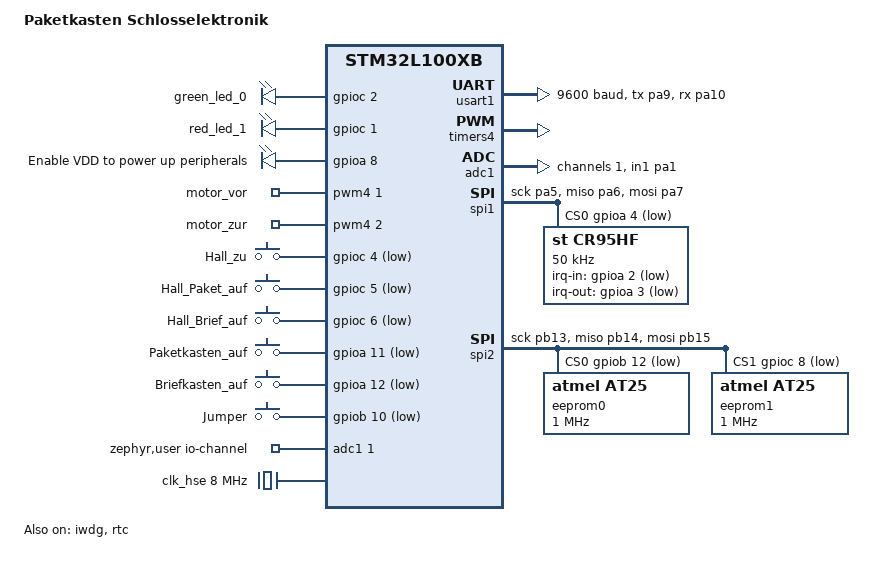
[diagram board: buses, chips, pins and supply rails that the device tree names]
/*
 * Copyright (c) 2025 Conny Marco Menebröcker
 *
 * SPDX-License-Identifier: Apache-2.0
 */

/dts-v1/;
#include <st/l1/stm32l100Xb.dtsi>
#include <st/l1/stm32l100r(8-b)tx-pinctrl.dtsi>
#include <zephyr/dt-bindings/input/input-event-codes.h>

/ {
	model = "Paketkasten Schlosselektronik";
	compatible = "dhl,paketkasten";

	chosen {
		zephyr,console = &usart1;
		zephyr,shell-uart = &usart1;
		zephyr,sram = &sram0;
		zephyr,flash = &flash0;
	};

	leds: leds {
		compatible = "gpio-leds";
		green_led_0: led_0 {
			gpios = <&gpioc 2 GPIO_ACTIVE_HIGH>;
		};
		red_led_1: led_1 {
			gpios = <&gpioc 1 GPIO_ACTIVE_HIGH>;
		};
		vdd_en:	output {
			gpios = <&gpioa 8 GPIO_ACTIVE_HIGH>;
			label = "Enable VDD to power up peripherals";
		};
	};

	pwmleds: pwmleds {
		compatible = "pwm-leds";
		status = "okay";

		motor_vor: motor_vor {
			pwms = <&pwm4 1 PWM_USEC(100) PWM_POLARITY_NORMAL>;
		};

		motor_zur: motor_zur {
			pwms = <&pwm4 2 PWM_USEC(100) PWM_POLARITY_NORMAL>;
		};
	};

	gpio_keys {
		compatible = "gpio-keys";
		hall_zu: button0 {
			label = "Hall_zu";
			gpios = <&gpioc 4 (GPIO_ACTIVE_LOW | GPIO_PULL_UP)>;
			zephyr,code = <INPUT_KEY_0>;
		};

		hall_p_auf: button1 {
			label = "Hall_Paket_auf";
			gpios = <&gpioc 5 (GPIO_ACTIVE_LOW | GPIO_PULL_UP)>;
			zephyr,code = <INPUT_KEY_1>;
		};

		hall_b_auf: button2 {
			label = "Hall_Brief_auf";
			gpios = <&gpioc 6 (GPIO_ACTIVE_LOW | GPIO_PULL_UP)>;
			zephyr,code = <INPUT_KEY_2>;
		};

		paket_auf: button3 {
			label = "Paketkasten_auf";
			gpios = <&gpioa 11 (GPIO_ACTIVE_LOW | GPIO_PULL_UP)>;
			zephyr,code = <INPUT_KEY_3>;
		};

		brief_auf: button4 {
			label = "Briefkasten_auf";
			gpios = <&gpioa 12 (GPIO_ACTIVE_LOW | GPIO_PULL_UP)>;
			zephyr,code = <INPUT_KEY_4>;
		};

		jumper: button5	{
			label = "Jumper";
			gpios = <&gpiob 10 (GPIO_ACTIVE_LOW | GPIO_PULL_UP)>;
			zephyr,code = <INPUT_KEY_5>;
		};
	};

	aliases	{
		vdden = &vdd_en;
		ledgreen = &green_led_0;
		ledred = &red_led_1;
		motorv = &motor_vor;
		motorz = &motor_zur;
		hallzu = &hall_zu;
		hallpauf = &hall_p_auf;
		hallbauf = &hall_b_auf;
		paketauf = &paket_auf;
		briefauf = &brief_auf;
		jumper = &jumper;
		rfid = &cr95hf;
		watchdog0 = &iwdg;
		/*die-temp0 = &die_temp;
		volt-sensor0 = &vref; */
	};

	zephyr,user {
		io-channels = <&adc1 1>;

		unused_pin_a0_cfg: unused_pin_a0_cfg {
			compatible = "zephyr,gpio-pinctrl";
			pinctrl-0 = <&unused_pin_a0>;
			pinctrl-names = "default";
		};
		unused_pin_b0_cfg: unused_pin_b0_cfg
		{
			compatible = "zephyr,gpio-pinctrl";
			pinctrl-0 = <&unused_pin_b0>;
			pinctrl-names = "default";
		};
		unused_pin_b1_cfg: unused_pin_b1_cfg
		{
			compatible = "zephyr,gpio-pinctrl";
			pinctrl-0 = <&unused_pin_b1>;
			pinctrl-names = "default";
		};
		unused_pin_b2_cfg: unused_pin_b2_cfg
		{
			compatible = "zephyr,gpio-pinctrl";
			pinctrl-0 = <&unused_pin_b2>;
			pinctrl-names = "default";
		};
		unused_pin_b4_cfg: unused_pin_b4_cfg
		{
			compatible = "zephyr,gpio-pinctrl";
			pinctrl-0 = <&unused_pin_b4>;
			pinctrl-names = "default";
		};
		unused_pin_b5_cfg: unused_pin_b5_cfg
		{
			compatible = "zephyr,gpio-pinctrl";
			pinctrl-0 = <&unused_pin_b5>;
			pinctrl-names = "default";
		};
		unused_pin_b8_cfg: unused_pin_b8_cfg
		{
			compatible = "zephyr,gpio-pinctrl";
			pinctrl-0 = <&unused_pin_b8>;
			pinctrl-names = "default";
		};
		unused_pin_b9_cfg: unused_pin_b9_cfg
		{
			compatible = "zephyr,gpio-pinctrl";
			pinctrl-0 = <&unused_pin_b9>;
			pinctrl-names = "default";
		};
		unused_pin_b10_cfg: unused_pin_b10_cfg
		{
			compatible = "zephyr,gpio-pinctrl";
			pinctrl-0 = <&unused_pin_b10>;
			pinctrl-names = "default";
		};
		unused_pin_b11_cfg: unused_pin_b11_cfg
		{
			compatible = "zephyr,gpio-pinctrl";
			pinctrl-0 = <&unused_pin_b11>;
			pinctrl-names = "default";
		};
		unused_pin_c0_cfg: unused_pin_c0_cfg
		{
			compatible = "zephyr,gpio-pinctrl";
			pinctrl-0 = <&unused_pin_c0>;
			pinctrl-names = "default";
		};
		unused_pin_c3_cfg: unused_pin_c3_cfg
		{
			compatible = "zephyr,gpio-pinctrl";
			pinctrl-0 = <&unused_pin_c3>;
			pinctrl-names = "default";
		};
		unused_pin_c7_cfg: unused_pin_c7_cfg
		{
			compatible = "zephyr,gpio-pinctrl";
			pinctrl-0 = <&unused_pin_c7>;
			pinctrl-names = "default";
		};
		unused_pin_c9_cfg: unused_pin_c9_cfg
		{
			compatible = "zephyr,gpio-pinctrl";
			pinctrl-0 = <&unused_pin_c9>;
			pinctrl-names = "default";
		};
		unused_pin_c10_cfg: unused_pin_c10_cfg
		{
			compatible = "zephyr,gpio-pinctrl";
			pinctrl-0 = <&unused_pin_c10>;
			pinctrl-names = "default";
		};
		unused_pin_c11_cfg: unused_pin_c11_cfg
		{
			compatible = "zephyr,gpio-pinctrl";
			pinctrl-0 = <&unused_pin_c11>;
			pinctrl-names = "default";
		};
		unused_pin_c12_cfg: unused_pin_c12_cfg
		{
			compatible = "zephyr,gpio-pinctrl";
			pinctrl-0 = <&unused_pin_c12>;
			pinctrl-names = "default";
		};
		unused_pin_c13_cfg: unused_pin_c13_cfg
		{
			compatible = "zephyr,gpio-pinctrl";
			pinctrl-0 = <&unused_pin_c13>;
			pinctrl-names = "default";
		};
		unused_pin_d2_cfg: unused_pin_d2_cfg
		{
			compatible = "zephyr,gpio-pinctrl";
			pinctrl-0 = <&unused_pin_d2>;
			pinctrl-names = "default";
		};
	};
};

&clk_hse
{
	clock-frequency = <DT_FREQ_M(8)>;
	status = "okay";
};

&clk_hsi {
	status = "okay";
};

&clk_lse {
	status = "okay";
};

&pll {
	div = <2>;
	mul = <3>;
	clocks = <&clk_hse>;
	status = "okay";
};

&rcc {
	clocks = <&pll>;
	clock-frequency = <DT_FREQ_M(12)>;
	ahb-prescaler = <1>;
	apb1-prescaler = <1>;
	apb2-prescaler = <1>;
};

&iwdg {
	status = "okay";
};

&rtc {
	clocks = <&rcc STM32_CLOCK_BUS_APB1 0x10000000>, <&rcc STM32_SRC_LSE RTC_SEL(1)>;
	status = "okay";
};

/* &die_temp {
	status = "okay";
}; */

&flash0 {
	partitions {
		compatible = "fixed-partitions";
		#address-cells = <1>;
		#size-cells = <1>;
	};
};

&dma1 {
	status = "okay";
};

/* &vref {
	status = "okay";
}; */

&usart1 {
	dmas = <&dma1 4 (STM32_DMA_PERIPH_TX | STM32_DMA_PRIORITY_HIGH)>,
	<&dma1 5 (STM32_DMA_PERIPH_RX | STM32_DMA_PRIORITY_HIGH)>;
	dma-names = "tx", "rx";
	pinctrl-0 = <&usart1_tx_pa9 &usart1_rx_pa10>;
	pinctrl-names = "default";
	current-speed = <9600>;
	status = "okay";
};

&timers4 {
	status = "okay";

	pwm4: pwm {
		pinctrl-0 = <&tim4_ch1_pb6 &tim4_ch2_pb7>;
		pinctrl-names = "default";
		status = "okay";
	};
};

&adc1 {
	status = "okay";
	pinctrl-0 = <&adc_in1_pa1>;
	pinctrl-names = "default";
	st,adc-prescaler = <4>;

	#address-cells = <1>;
	#size-cells = <0>;

	channel@1 {
		reg = <1>;
		zephyr,gain = "ADC_GAIN_1";
		zephyr,reference = "ADC_REF_INTERNAL";
		zephyr,acquisition-time = <ADC_ACQ_TIME_DEFAULT>;
		zephyr,resolution = <12>;
	};

	dmas = <&dma1 1 (STM32_DMA_PERIPH_RX | STM32_DMA_PERIPH_16BITS | STM32_DMA_MEM_16BITS |
			STM32_DMA_PRIORITY_HIGH)>;
	dma-names = "adc";
};

&spi1 {
	pinctrl-0 = <&spi1_sck_pa5 &spi1_miso_pa6 &spi1_mosi_pa7>;
	pinctrl-names = "default";
	status = "okay";
	#address-cells = <1>;
	#size-cells = <0>;
	cs-gpios = <&gpioa 4 GPIO_ACTIVE_LOW>;

cr95hf:	spi-device@0 {
		reg = <0>;
		spi-max-frequency = <50000>;
		compatible = "st,cr95hf";
		status = "okay";
		irq-in-gpios = <&gpioa 2 GPIO_ACTIVE_LOW>;
		irq-out-gpios = <&gpioa 3 GPIO_ACTIVE_LOW>;
	};

	dmas = <&dma1 3 (STM32_DMA_PERIPH_TX | STM32_DMA_PRIORITY_HIGH)>,
	<&dma1 2 (STM32_DMA_PERIPH_RX | STM32_DMA_PRIORITY_HIGH)>;
	dma-names = "tx", "rx";
};

&spi2 {
	pinctrl-0 = <&spi2_sck_pb13 &spi2_miso_pb14 &spi2_mosi_pb15>;
	pinctrl-names = "default";
	status = "okay";
	#address-cells = <1>;
	#size-cells = <0>;
	cs-gpios = <&gpiob 12 GPIO_ACTIVE_LOW>, <&gpioc 8 GPIO_ACTIVE_LOW>;

eeprom0: eeprom@0 {
		reg = <0>;
		spi-max-frequency = <1000000>;
		compatible = "atmel,at25";
		status = "okay";
		size = <32768>;
		pagesize = <64>;
		address-width = <16>;
		timeout = <5>;
	};

eeprom1: eeprom@1 {
		reg = <1>;
		spi-max-frequency = <1000000>;
		compatible = "atmel,at25";
		status = "okay";
		size = <32768>;
		pagesize = <64>;
		address-width = <16>;
		timeout = <5>;
	};
};

&pinctrl {
	unused_pin_a0: unused_pin_a0_grp {
		pinmux = <STM32_PINMUX('A', 0, ANALOG)>;
		bias-pull-down;
	};
	unused_pin_b0: unused_pin_b0_grp {
		pinmux = <STM32_PINMUX('B', 0, ANALOG)>;
		bias-pull-down;
	};
	unused_pin_b1: unused_pin_b1_grp {
		pinmux = <STM32_PINMUX('B', 1, ANALOG)>;
		bias-pull-down;
	};
	unused_pin_b2: unused_pin_b2_grp {
		pinmux = <STM32_PINMUX('B', 2, ANALOG)>;
		bias-pull-down;
	};
	unused_pin_b4: unused_pin_b4_grp {
		pinmux = <STM32_PINMUX('B', 4, ANALOG)>;
		bias-pull-down;
	};
	unused_pin_b5: unused_pin_b5_grp {
		pinmux = <STM32_PINMUX('B', 5, ANALOG)>;
		bias-pull-down;
	};
	unused_pin_b8: unused_pin_b8_grp {
		pinmux = <STM32_PINMUX('B', 8, ANALOG)>;
		bias-pull-down;
	};
	unused_pin_b9: unused_pin_b9_grp {
		pinmux = <STM32_PINMUX('B', 9, ANALOG)>;
		bias-pull-down;
	};
	unused_pin_b10: unused_pin_b10_grp {
		pinmux = <STM32_PINMUX('B', 10, ANALOG)>;
		bias-pull-down;
	};
	unused_pin_b11: unused_pin_b11_grp {
		pinmux = <STM32_PINMUX('B', 11, ANALOG)>;
		bias-pull-down;
	};
	unused_pin_c0: unused_pin_c0_grp {
		pinmux = <STM32_PINMUX('C', 0, ANALOG)>;
		bias-pull-down;
	};
	unused_pin_c3: unused_pin_c3_grp {
		pinmux = <STM32_PINMUX('C', 3, ANALOG)>;
		bias-pull-down;
	};
	unused_pin_c7: unused_pin_c7_grp {
		pinmux = <STM32_PINMUX('C', 7, ANALOG)>;
		bias-pull-down;
	};
	unused_pin_c9: unused_pin_c9_grp {
		pinmux = <STM32_PINMUX('C', 9, ANALOG)>;
		bias-pull-down;
	};
	unused_pin_c10: unused_pin_c10_grp {
		pinmux = <STM32_PINMUX('C', 10, ANALOG)>;
		bias-pull-down;
	};
	unused_pin_c11: unused_pin_c11_grp {
		pinmux = <STM32_PINMUX('C', 11, ANALOG)>;
		bias-pull-down;
	};
	unused_pin_c12: unused_pin_c12_grp {
		pinmux = <STM32_PINMUX('C', 12, ANALOG)>;
		bias-pull-down;
	};
	unused_pin_c13: unused_pin_c13_grp {
		pinmux = <STM32_PINMUX('C', 13, ANALOG)>;
		bias-pull-down;
	};
	unused_pin_d2: unused_pin_d2_grp {
		pinmux = <STM32_PINMUX('D', 2, ANALOG)>;
		bias-pull-down;
	};
};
